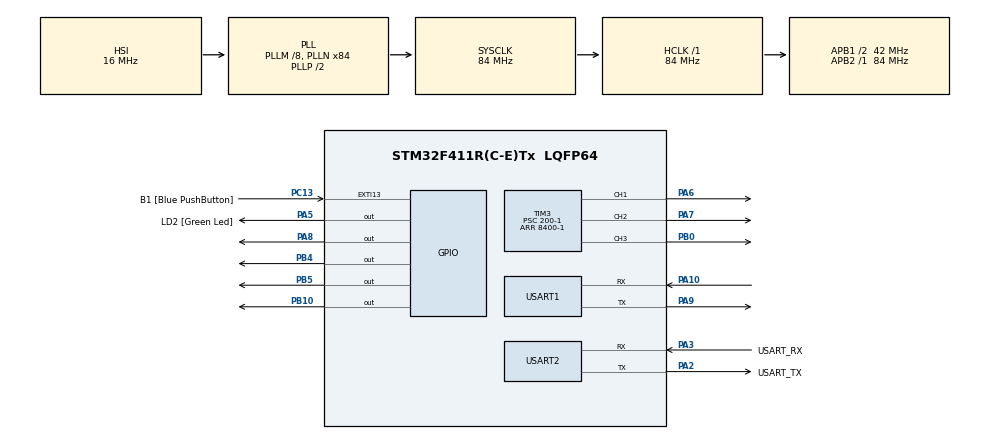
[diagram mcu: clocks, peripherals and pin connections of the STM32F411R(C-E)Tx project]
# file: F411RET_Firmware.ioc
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Mcu.Family=STM32F4
Mcu.Name=STM32F411R(C-E)Tx
Mcu.Package=LQFP64
NVIC.PriorityGroup=NVIC_PRIORITYGROUP_0
NVIC.USART1_IRQn=true\:0\:0\:false\:false\:true\:true\:true\:true
PA10.Mode=Asynchronous
PA10.Signal=USART1_RX
PA13.GPIO_Label=TMS
PA13.Mode=Serial_Wire
PA13.Signal=SYS_JTMS-SWDIO
PA14.GPIO_Label=TCK
PA14.Mode=Serial_Wire
PA14.Signal=SYS_JTCK-SWCLK
PA2.GPIO_Label=USART_TX
PA2.Mode=Asynchronous
PA2.Signal=USART2_TX
PA3.GPIO_Label=USART_RX
PA3.Mode=Asynchronous
PA3.Signal=USART2_RX
PA5.GPIO_Label=LD2 [Green Led]
PA5.Signal=GPIO_Output
PA6.Signal=S_TIM3_CH1
PA7.Signal=S_TIM3_CH2
PA8.Signal=GPIO_Output
PA9.Mode=Asynchronous
PA9.Signal=USART1_TX
PB0.Signal=S_TIM3_CH3
PB10.Signal=GPIO_Output
PB3.GPIO_Label=SWO
PB3.Signal=SYS_JTDO-SWO
PB4.Signal=GPIO_Output
PB5.Signal=GPIO_Output
PC13-ANTI_TAMP.GPIO_Label=B1 [Blue PushButton]
PC13-ANTI_TAMP.GPIO_ModeDefaultEXTI=GPIO_MODE_IT_FALLING
PC13-ANTI_TAMP.Signal=GPXTI13
PC14-OSC32_IN.Mode=LSE-External-Oscillator
PC14-OSC32_IN.Signal=RCC_OSC32_IN
PC15-OSC32_OUT.Mode=LSE-External-Oscillator
PC15-OSC32_OUT.Signal=RCC_OSC32_OUT
PH0\ -\ OSC_IN.Mode=HSE-External-Clock-Source
PH0\ -\ OSC_IN.Signal=RCC_OSC_IN
PH1\ -\ OSC_OUT.Mode=HSE-External-Clock-Source
PH1\ -\ OSC_OUT.Signal=RCC_OSC_OUT
ProjectManager.HeapSize=0x200
ProjectManager.StackSize=0x400
ProjectManager.TargetToolchain=STM32CubeIDE
RCC.48MHZClocksFreq_Value=42000000
RCC.AHBFreq_Value=84000000
RCC.APB1CLKDivider=RCC_HCLK_DIV2
RCC.APB1Freq_Value=42000000
RCC.APB1TimFreq_Value=84000000
RCC.APB2Freq_Value=84000000
RCC.APB2TimFreq_Value=84000000
RCC.CortexFreq_Value=84000000
RCC.FLatency-AdvancedSettings=FLASH_LATENCY_2
RCC.HCLKFreq_Value=84000000
RCC.HSE_VALUE=8000000
RCC.HSI_VALUE=16000000
RCC.PLLM=8
RCC.PLLN=84
RCC.SYSCLKFreq_VALUE=84000000
RCC.SYSCLKSource=RCC_SYSCLKSOURCE_PLLCLK
RCC.VCOOutputFreq_Value=168000000
RTC.Date=4
RTC.Format=RTC_FORMAT_BIN
RTC.Hours=17
RTC.Minutes=15
RTC.Month=RTC_MONTH_FEBRUARY
RTC.WeekDay=RTC_WEEKDAY_TUESDAY
RTC.Year=25
SH.S_TIM3_CH1.0=TIM3_CH1,PWM Generation1 CH1
SH.S_TIM3_CH2.0=TIM3_CH2,PWM Generation2 CH2
SH.S_TIM3_CH3.0=TIM3_CH3,PWM Generation3 CH3
TIM1.Prescaler=80-1
TIM3.Channel-PWM\ Generation1\ CH1=TIM_CHANNEL_1
TIM3.Channel-PWM\ Generation2\ CH2=TIM_CHANNEL_2
TIM3.Channel-PWM\ Generation3\ CH3=TIM_CHANNEL_3
TIM3.Period=8400-1
TIM3.Prescaler=200-1
USART1.VirtualMode=VM_ASYNC
USART2.VirtualMode=VM_ASYNC
VP_RTC_VS_RTC_Activate.Mode=RTC_Enabled
VP_RTC_VS_RTC_Calendar.Mode=RTC_Calendar
VP_TIM1_VS_ClockSourceINT.Mode=Internal
VP_TIM3_VS_ClockSourceINT.Mode=Internal
board=NUCLEO-F411RE

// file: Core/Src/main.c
/* USER CODE BEGIN Header */
/**
  ******************************************************************************
  * @file           : main.c
  * @brief          : Main program body
  ******************************************************************************
  * @attention
  *
  * Copyright (c) 2025 STMicroelectronics.
  * All rights reserved.
  *
  * This software is licensed under terms that can be found in the LICENSE file
  * in the root directory of this software component.
  * If no LICENSE file comes with this software, it is provided AS-IS.
  *
  ******************************************************************************
  */
/* USER CODE END Header */
#include "main.h"

/* USER CODE BEGIN Includes */
#include "calculations.hpp"
#include "sunCalc.hpp"
#include "motorFuncs.hpp"
#include <stdio.h>
#include <stdint.h>
#include <stdbool.h>

#include <time.h>
#define RX_BUFFER_SIZE 50
/* USER CODE END Includes */

RTC_HandleTypeDef hrtc;

TIM_HandleTypeDef htim1;
TIM_HandleTypeDef htim3;

UART_HandleTypeDef huart1;
UART_HandleTypeDef huart2;

/* USER CODE BEGIN PV */
#pragma pack(push, 1)
typedef struct {
    double latitude;   // 8 bytes
    double longitude;  // 8 bytes
    int32_t timestamp; // 4 bytes
} PacketData;
#pragma pack(pop)
static PacketData rxPacket;
static uint8_t rxBuffer[sizeof(PacketData)];
static uint8_t tempByte;
volatile bool rxPacketReady = false;
// Our "2 states"
typedef enum {
    WAIT_HEADER,
    WAIT_PAYLOAD
} RxState;
static RxState rxState = WAIT_HEADER;
// Indices for partial progress
static uint8_t headerIndex = 0;     // 0..2 (2 means header matched)
static uint8_t payloadIndex = 0;
uint32_t timeAtSync;
uint32_t unixNow;
bool gotData = false;

char buffer[100];

/* USER CODE END PV */

void SystemClock_Config(void);
static void MX_GPIO_Init(void);
static void MX_USART2_UART_Init(void);
static void MX_RTC_Init(void);
static void MX_USART1_UART_Init(void);
static void MX_TIM1_Init(void);
static void MX_TIM3_Init(void);

/* USER CODE BEGIN 0 */

int _write(int file, char *ptr, int len) {
    HAL_UART_Transmit(&huart2, (uint8_t*)ptr, len, HAL_MAX_DELAY);
    return len;
}

void SetRTC_FromUnixTime(uint32_t unixTime)
{
    // Convert epoch to calendar time (UTC).
    // If you want local time, use localtime(&unixTime) instead,
    // but typically RTC is set to UTC.
    struct tm *t = gmtime((time_t*)&unixTime);

    // Prepare the time/date structs for the HAL RTC
    RTC_TimeTypeDef sTime = {0};
    RTC_DateTypeDef sDate = {0};

    // The STM32 HAL RTC expects Hours/Minutes/Seconds in 0–23 / 0–59 / 0–59
    sTime.Hours   = t->tm_hour + 3;
    sTime.Minutes = t->tm_min;
    sTime.Seconds = t->tm_sec;
    sTime.TimeFormat = RTC_HOURFORMAT_24;
    // Optionally set SubSeconds, DayLightSaving, StoreOperation fields if needed

    if (HAL_RTC_SetTime(&hrtc, &sTime, RTC_FORMAT_BIN) != HAL_OK)
    {
        // Error handling
    }

    // The HAL expects year 00–99 to represent 2000–2099 by default
    // so we subtract 100 from tm_year (which is years since 1900).
    // e.g. if tm_year=123 => year 2023.
    // STM Year = 23 => means 2023 in RTC
    sDate.Year    = (t->tm_year + 1900) - 2000;
    sDate.Month   = t->tm_mon + 1;  // tm_mon is 0–11
    sDate.Date    = t->tm_mday;
    sDate.WeekDay = t->tm_wday ? t->tm_wday : 7;
    // HAL_RTC week day is 1=Monday, 7=Sunday;
    // Standard tm_wday is 0=Sunday, so you might adjust logic as needed.

    if (HAL_RTC_SetDate(&hrtc, &sDate, RTC_FORMAT_BIN) != HAL_OK)
    {
        // Error handling
    	printf("Error in setting time");
    }
}

time_t GetUnixTimeFromRTC(void)
{
    RTC_TimeTypeDef sTimeTemp;
    RTC_DateTypeDef sDateTemp;
    struct tm t = {0};

    // 1) Read RTC time/date
    HAL_RTC_GetTime(&hrtc, &sTimeTemp, RTC_FORMAT_BIN);
    HAL_RTC_GetDate(&hrtc, &sDateTemp, RTC_FORMAT_BIN);

    // 2) Convert to 'struct tm'
    uint16_t fullYear = sDateTemp.Year + 2000;     // e.g. if year=23 => 2023
    t.tm_year = fullYear - 1900;               // years since 1900
    t.tm_mon  = sDateTemp.Month - 1;               // tm_mon is 0–11
    t.tm_mday = sDateTemp.Date;                    // day of month (1–31)
    t.tm_hour = sTimeTemp.Hours;                   // 0–23
    t.tm_min  = sTimeTemp.Minutes;                 // 0–59
    t.tm_sec  = sTimeTemp.Seconds;                 // 0–59

    // 3) Convert 'tm' to Unix time
    //    Note: by default, mktime() treats this as local time
    //    If your RTC is in UTC, treat it as local offset=0
    time_t unixTime = mktime(&t);

    return unixTime;
}
/* USER CODE END 0 */

int main(void)
{

  /* USER CODE BEGIN 1 */
	int counter = 0;

  /* USER CODE END 1 */

  /* MCU Configuration--------------------------------------------------------*/

  /* Reset of all peripherals, Initializes the Flash interface and the Systick. */
  HAL_Init();

  /* Configure the system clock */
  SystemClock_Config();

  /* Initialize all configured peripherals */
  MX_GPIO_Init();
  MX_USART2_UART_Init();
  MX_RTC_Init();
  MX_USART1_UART_Init();
  MX_TIM1_Init();
  MX_TIM3_Init();
  /* USER CODE BEGIN 2 */
  RTC_TimeTypeDef sTime;
  RTC_DateTypeDef sDate;
  HAL_TIM_PWM_Start(&htim3, TIM_CHANNEL_1 );
  HAL_TIM_PWM_Start(&htim3, TIM_CHANNEL_2 );
  HAL_TIM_PWM_Start(&htim3, TIM_CHANNEL_3 );
  HAL_TIM_Base_Start(&htim1);
  setServoToInit();
  // Start receiving 1 byte in interrupt mode
//    HAL_UART_Receive_IT(&huart1, &tempByte, 1);
  uint8_t dummy;
  bool didClean = false;
//  while (HAL_UART_Receive(&huart1, &dummy, 1, 0) == HAL_OK) {
//      // just drain leftover data
//	  printf("CLEANING\r\n");
//	  didClean = true;
//	  __NOP();
//  }
  HAL_UART_Receive_IT(&huart1, &tempByte, 1);
  /* USER CODE END 2 */

  /* Infinite loop */
  /* USER CODE BEGIN WHILE */
  printf("--------------Main loop begin--------------\r\n");
  HAL_Delay(2000);
  while (1)
  {
	  printf("\n####_%d_LOOP_%d_####\r\n",didClean,counter);
	  counter++;

	  HAL_GPIO_TogglePin(GPIOA, GPIO_PIN_5);
	  HAL_Delay(500);
      if (rxPacketReady)
      {
          rxPacketReady = false;
          // Safe to print or handle data here
          printf(">>>>>>>>>>>Got data: lat=%.6f, lon=%.6f, time: %d\r\n",rxPacket.latitude, rxPacket.longitude, rxPacket.timestamp);
          SetRTC_FromUnixTime(rxPacket.timestamp);
          timeAtSync = HAL_GetTick();
          gotData = true;
//          testFunc();
      }

      if (!gotData) continue;

	  HAL_RTC_GetTime(&hrtc, &sTime, RTC_FORMAT_BIN);
	  HAL_RTC_GetDate(&hrtc, &sDate, RTC_FORMAT_BIN);

	  snprintf(buffer, sizeof(buffer), "Time: %02d:%02d:%02d, Date: %02d:%02d:%02d\r\n",
	  	  	  sTime.Hours,sTime.Minutes,sTime.Seconds,sDate.Date,sDate.Month,sDate.Year + 2000);
	  printf(buffer);

	  unixNow = ((HAL_GetTick() - timeAtSync) / 1000) + rxPacket.timestamp;
	  sunPos test = sunTest(sDate.Year + 2000, sDate.Month, sDate.Date, sTime.Hours, sTime.Minutes, rxPacket.latitude, rxPacket.longitude);
	  printf("azimuth: %.2f, altitude: %.2f\r\n",test.azimuth, test.altitude);

	  motorAngles angles = anglesCalculation(test.azimuth, test.altitude);
	  printf("angles: %d | %d | %d | %d\r\n", angles.val1, angles.val2, angles.val3, angles.val4);

	  int anglesSend[4];
	  anglesSend[0] = angles.val1;
	  anglesSend[1] = angles.val2;
	  anglesSend[2] = angles.val3;
	  anglesSend[3] = angles.val4;
	  moveMotors(anglesSend);

	  HAL_Delay(2000);

	  __NOP();

    /* USER CODE END WHILE */

  }
}

void SystemClock_Config(void)
{
  RCC_OscInitTypeDef RCC_OscInitStruct = {0};
  RCC_ClkInitTypeDef RCC_ClkInitStruct = {0};

  /** Configure the main internal regulator output voltage
  */
  __HAL_RCC_PWR_CLK_ENABLE();
  __HAL_PWR_VOLTAGESCALING_CONFIG(PWR_REGULATOR_VOLTAGE_SCALE1);

  /** Initializes the RCC Oscillators according to the specified parameters
  * in the RCC_OscInitTypeDef structure.
  */
  RCC_OscInitStruct.OscillatorType = RCC_OSCILLATORTYPE_HSI|RCC_OSCILLATORTYPE_LSI;
  RCC_OscInitStruct.HSIState = RCC_HSI_ON;
  RCC_OscInitStruct.HSICalibrationValue = RCC_HSICALIBRATION_DEFAULT;
  RCC_OscInitStruct.LSIState = RCC_LSI_ON;
  RCC_OscInitStruct.PLL.PLLState = RCC_PLL_ON;
  RCC_OscInitStruct.PLL.PLLSource = RCC_PLLSOURCE_HSI;
  RCC_OscInitStruct.PLL.PLLM = 8;
  RCC_OscInitStruct.PLL.PLLN = 84;
  RCC_OscInitStruct.PLL.PLLP = RCC_PLLP_DIV2;
  RCC_OscInitStruct.PLL.PLLQ = 4;
  if (HAL_RCC_OscConfig(&RCC_OscInitStruct) != HAL_OK)
  {
    Error_Handler();
  }

  /** Initializes the CPU, AHB and APB buses clocks
  */
  RCC_ClkInitStruct.ClockType = RCC_CLOCKTYPE_HCLK|RCC_CLOCKTYPE_SYSCLK
                              |RCC_CLOCKTYPE_PCLK1|RCC_CLOCKTYPE_PCLK2;
  RCC_ClkInitStruct.SYSCLKSource = RCC_SYSCLKSOURCE_PLLCLK;
  RCC_ClkInitStruct.AHBCLKDivider = RCC_SYSCLK_DIV1;
  RCC_ClkInitStruct.APB1CLKDivider = RCC_HCLK_DIV2;
  RCC_ClkInitStruct.APB2CLKDivider = RCC_HCLK_DIV1;

  if (HAL_RCC_ClockConfig(&RCC_ClkInitStruct, FLASH_LATENCY_2) != HAL_OK)
  {
    Error_Handler();
  }
}

static void MX_RTC_Init(void)
{

  RTC_TimeTypeDef sTime = {0};
  RTC_DateTypeDef sDate = {0};

  /** Initialize RTC Only
  */
  hrtc.Instance = RTC;
  hrtc.Init.HourFormat = RTC_HOURFORMAT_24;
  hrtc.Init.AsynchPrediv = 127;
  hrtc.Init.SynchPrediv = 255;
  hrtc.Init.OutPut = RTC_OUTPUT_DISABLE;
  hrtc.Init.OutPutPolarity = RTC_OUTPUT_POLARITY_HIGH;
  hrtc.Init.OutPutType = RTC_OUTPUT_TYPE_OPENDRAIN;
  if (HAL_RTC_Init(&hrtc) != HAL_OK)
  {
    Error_Handler();
  }

  /** Initialize RTC and set the Time and Date
  */
  sTime.Hours = 17;
  sTime.Minutes = 15;
  sTime.Seconds = 0;
  sTime.DayLightSaving = RTC_DAYLIGHTSAVING_NONE;
  sTime.StoreOperation = RTC_STOREOPERATION_RESET;
  if (HAL_RTC_SetTime(&hrtc, &sTime, RTC_FORMAT_BIN) != HAL_OK)
  {
    Error_Handler();
  }
  sDate.WeekDay = RTC_WEEKDAY_TUESDAY;
  sDate.Month = RTC_MONTH_FEBRUARY;
  sDate.Date = 4;
  sDate.Year = 25;

  if (HAL_RTC_SetDate(&hrtc, &sDate, RTC_FORMAT_BIN) != HAL_OK)
  {
    Error_Handler();
  }

}

static void MX_TIM1_Init(void)
{

  TIM_ClockConfigTypeDef sClockSourceConfig = {0};
  TIM_MasterConfigTypeDef sMasterConfig = {0};

  htim1.Instance = TIM1;
  htim1.Init.Prescaler = 80-1;
  htim1.Init.CounterMode = TIM_COUNTERMODE_UP;
  htim1.Init.Period = 65535;
  htim1.Init.ClockDivision = TIM_CLOCKDIVISION_DIV1;
  htim1.Init.RepetitionCounter = 0;
  htim1.Init.AutoReloadPreload = TIM_AUTORELOAD_PRELOAD_DISABLE;
  if (HAL_TIM_Base_Init(&htim1) != HAL_OK)
  {
    Error_Handler();
  }
  sClockSourceConfig.ClockSource = TIM_CLOCKSOURCE_INTERNAL;
  if (HAL_TIM_ConfigClockSource(&htim1, &sClockSourceConfig) != HAL_OK)
  {
    Error_Handler();
  }
  sMasterConfig.MasterOutputTrigger = TIM_TRGO_RESET;
  sMasterConfig.MasterSlaveMode = TIM_MASTERSLAVEMODE_DISABLE;
  if (HAL_TIMEx_MasterConfigSynchronization(&htim1, &sMasterConfig) != HAL_OK)
  {
    Error_Handler();
  }

}

static void MX_TIM3_Init(void)
{

  TIM_ClockConfigTypeDef sClockSourceConfig = {0};
  TIM_MasterConfigTypeDef sMasterConfig = {0};
  TIM_OC_InitTypeDef sConfigOC = {0};

  htim3.Instance = TIM3;
  htim3.Init.Prescaler = 200-1;
  htim3.Init.CounterMode = TIM_COUNTERMODE_UP;
  htim3.Init.Period = 8400-1;
  htim3.Init.ClockDivision = TIM_CLOCKDIVISION_DIV1;
  htim3.Init.AutoReloadPreload = TIM_AUTORELOAD_PRELOAD_DISABLE;
  if (HAL_TIM_Base_Init(&htim3) != HAL_OK)
  {
    Error_Handler();
  }
  sClockSourceConfig.ClockSource = TIM_CLOCKSOURCE_INTERNAL;
  if (HAL_TIM_ConfigClockSource(&htim3, &sClockSourceConfig) != HAL_OK)
  {
    Error_Handler();
  }
  if (HAL_TIM_PWM_Init(&htim3) != HAL_OK)
  {
    Error_Handler();
  }
  sMasterConfig.MasterOutputTrigger = TIM_TRGO_RESET;
  sMasterConfig.MasterSlaveMode = TIM_MASTERSLAVEMODE_DISABLE;
  if (HAL_TIMEx_MasterConfigSynchronization(&htim3, &sMasterConfig) != HAL_OK)
  {
    Error_Handler();
  }
  sConfigOC.OCMode = TIM_OCMODE_PWM1;
  sConfigOC.Pulse = 0;
  sConfigOC.OCPolarity = TIM_OCPOLARITY_HIGH;
  sConfigOC.OCFastMode = TIM_OCFAST_DISABLE;
  if (HAL_TIM_PWM_ConfigChannel(&htim3, &sConfigOC, TIM_CHANNEL_1) != HAL_OK)
  {
    Error_Handler();
  }
  if (HAL_TIM_PWM_ConfigChannel(&htim3, &sConfigOC, TIM_CHANNEL_2) != HAL_OK)
  {
    Error_Handler();
  }
  if (HAL_TIM_PWM_ConfigChannel(&htim3, &sConfigOC, TIM_CHANNEL_3) != HAL_OK)
  {
    Error_Handler();
  }
  HAL_TIM_MspPostInit(&htim3);

}

static void MX_USART1_UART_Init(void)
{

  huart1.Instance = USART1;
  huart1.Init.BaudRate = 115200;
  huart1.Init.WordLength = UART_WORDLENGTH_8B;
  huart1.Init.StopBits = UART_STOPBITS_1;
  huart1.Init.Parity = UART_PARITY_NONE;
  huart1.Init.Mode = UART_MODE_TX_RX;
  huart1.Init.HwFlowCtl = UART_HWCONTROL_NONE;
  huart1.Init.OverSampling = UART_OVERSAMPLING_16;
  if (HAL_UART_Init(&huart1) != HAL_OK)
  {
    Error_Handler();
  }

}

static void MX_USART2_UART_Init(void)
{

  huart2.Instance = USART2;
  huart2.Init.BaudRate = 115200;
  huart2.Init.WordLength = UART_WORDLENGTH_8B;
  huart2.Init.StopBits = UART_STOPBITS_1;
  huart2.Init.Parity = UART_PARITY_NONE;
  huart2.Init.Mode = UART_MODE_TX_RX;
  huart2.Init.HwFlowCtl = UART_HWCONTROL_NONE;
  huart2.Init.OverSampling = UART_OVERSAMPLING_16;
  if (HAL_UART_Init(&huart2) != HAL_OK)
  {
    Error_Handler();
  }

}

static void MX_GPIO_Init(void)
{
  GPIO_InitTypeDef GPIO_InitStruct = {0};

  /* GPIO Ports Clock Enable */
  __HAL_RCC_GPIOC_CLK_ENABLE();
  __HAL_RCC_GPIOH_CLK_ENABLE();
  __HAL_RCC_GPIOA_CLK_ENABLE();
  __HAL_RCC_GPIOB_CLK_ENABLE();

  /*Configure GPIO pin Output Level */
  HAL_GPIO_WritePin(GPIOA, LD2_Pin|GPIO_PIN_8, GPIO_PIN_RESET);

  /*Configure GPIO pin Output Level */
  HAL_GPIO_WritePin(GPIOB, GPIO_PIN_10|GPIO_PIN_4|GPIO_PIN_5, GPIO_PIN_RESET);

  /*Configure GPIO pin : B1_Pin */
  GPIO_InitStruct.Pin = B1_Pin;
  GPIO_InitStruct.Mode = GPIO_MODE_IT_FALLING;
  GPIO_InitStruct.Pull = GPIO_NOPULL;
  HAL_GPIO_Init(B1_GPIO_Port, &GPIO_InitStruct);

  /*Configure GPIO pins : LD2_Pin PA8 */
  GPIO_InitStruct.Pin = LD2_Pin|GPIO_PIN_8;
  GPIO_InitStruct.Mode = GPIO_MODE_OUTPUT_PP;
  GPIO_InitStruct.Pull = GPIO_NOPULL;
  GPIO_InitStruct.Speed = GPIO_SPEED_FREQ_LOW;
  HAL_GPIO_Init(GPIOA, &GPIO_InitStruct);

  /*Configure GPIO pins : PB10 PB4 PB5 */
  GPIO_InitStruct.Pin = GPIO_PIN_10|GPIO_PIN_4|GPIO_PIN_5;
  GPIO_InitStruct.Mode = GPIO_MODE_OUTPUT_PP;
  GPIO_InitStruct.Pull = GPIO_NOPULL;
  GPIO_InitStruct.Speed = GPIO_SPEED_FREQ_LOW;
  HAL_GPIO_Init(GPIOB, &GPIO_InitStruct);

}

/* USER CODE BEGIN 4 */
void HAL_UART_RxCpltCallback(UART_HandleTypeDef *huart)
{
    if (huart->Instance == USART1)
    {
        switch (rxState)
        {
        case WAIT_HEADER:
            // We want a sequence [0xAA, 0x55].
            // headerIndex==0 => next byte must be 0xAA
            // headerIndex==1 => next byte must be 0x55
            // If we reach headerIndex==2 => done, move to WAIT_PAYLOAD

            if (headerIndex == 0)
            {
                if (tempByte == 0xAA)
                {
                    headerIndex = 1; // found first header byte
                }
                else
                {
                    // remain at 0, keep waiting for 0xAA
                	printf("BAD DATA\r\n");
                }
            }
            else if (headerIndex == 1)
            {
                if (tempByte == 0x55)
                {
                    // valid header
                    headerIndex = 2;
                    rxState = WAIT_PAYLOAD;
                    payloadIndex = 0;   // reset for payload
                }
                else
                {
                    // not 0x55
                    // if it's 0xAA, stay at 1 (like partial overlap)
                	printf("BAD DATA\r\n");
                    if (tempByte == 0xAA)
                        headerIndex = 1;
                    else
                        headerIndex = 0;
                }
            }
            break;

        case WAIT_PAYLOAD:
            // Store each incoming byte
            rxBuffer[payloadIndex++] = tempByte;

            if (payloadIndex >= sizeof(PacketData))
            {
                // We have the entire payload
                memcpy(&rxPacket, rxBuffer, sizeof(rxPacket));
                rxPacketReady = true;

                // Return to WAIT_HEADER to look for next packet
                rxState = WAIT_HEADER;
                headerIndex = 0;
                payloadIndex = 0;
            }
            break;
        }

        // Re-initiate 1-byte interrupt receive
        HAL_UART_Receive_IT(&huart1, &tempByte, 1);
    }
}

/* USER CODE END 4 */

void Error_Handler(void)
{
  __disable_irq();
  while (1)
  {
  }
}
